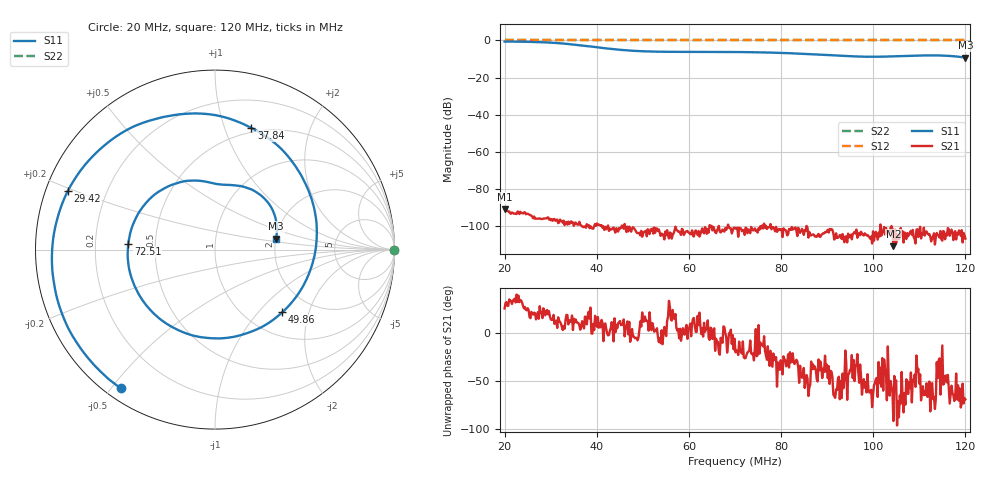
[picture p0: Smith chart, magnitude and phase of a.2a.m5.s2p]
! Anritsu VNA Master:  Model: MS2036C/10/77
! SN:  1601066
! /bd0/18may09/252.ew.m5.s2p
! Existing Calibration Information:
! TYPE:  Current Settings,  Active Cal Settings
! TIME:  05/09/2018 08:13:59 AM,  05/09/2018 08:04:56 AM
! INTERNAL TEMP:  41.5 C,  42.3 C
! # POINTS:  500,  500
! START FREQ:  20.000 MHz,  20.000 MHz
! STOP FREQ:  120.000 MHz,  120.000 MHz
! SOURCE POWER:  High,  High
! IFBW:  50 Hz,  50 Hz
! AVG FACTOR:  1 ,  1
! REF PLANE 1:  0 mm,  0 mm
! REF PLANE 2:  0 mm,  0 mm
! CAL TYPE:  Full S11,  Full S11
! CAL METHOD:  SOLT,  SOLT
! CAL LINE TYPE:  Coax,  Coax
! DUT PORT 1:  K-Conn(F),  K-Conn(F)
! DUT PORT 2:  K-Conn(F),  K-Conn(F)
! CAL STATUS:  OK: Accuracy High,  --
# GHZ S DB R 50.0
! FREQ.GHZ  S11DB  S11A  S21DB  S21A  S12DB  S12A  S22DB  S22A
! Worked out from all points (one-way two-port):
!   500 points, 20 MHz to 120 MHz, reference 50 ohm
!   highest |S21| = -91.00 dB at 20 MHz (marker M1); lowest = -110.8 dB at 104.4 MHz (marker M2)
!   lowest |S11| = -9.2 dB at 120 MHz (marker M3), VSWR 2.05, Z = 100 + j14 ohm
!   |S11| at or under -10 dB: nowhere
!   |S22| runs from 0.0 to 0.0 dB; largest |S21 - S12| = 1
!   S11 on the Smith chart (normalised r, x): 20 MHz: 0.04, -0.53; 29.42 MHz: 0.06, +0.19; 37.84 MHz: 0.46, +1.24; 49.86 MHz: 1.44, -1.36; 72.51 MHz: 0.35, +0.03; 120 MHz: 2.00, +0.28
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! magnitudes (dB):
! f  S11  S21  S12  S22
! 20 MHz  -0.6  -91.0  0.0  0.0
! 24.81 MHz  -0.7  -93.3  0.0  0.0
! 29.42 MHz  -1.1  -95.2  0.0  0.0
! 32.83 MHz  -1.7  -97.0  0.0  0.0
! 36.83 MHz  -2.7  -100.1  0.0  0.0
! 37.84 MHz  -3.0  -98.9  0.0  0.0
! 44.45 MHz  -4.9  -102.4  0.0  0.0
! 47.05 MHz  -5.4  -100.2  0.0  0.0
! 49.86 MHz  -5.8  -105.7  0.0  0.0
! 53.47 MHz  -6.1  -101.8  0.0  0.0
! 70.1 MHz  -6.2  -101.3  0.0  0.0
! 72.51 MHz  -6.3  -101.2  0.0  0.0
! 80.52 MHz  -6.7  -101.2  0.0  0.0
! 86.73 MHz  -7.4  -104.5  0.0  0.0
! 97.56 MHz  -8.7  -104.0  0.0  0.0
! 100.2 MHz  -8.8  -107.8  0.0  0.0
! 103.4 MHz  -8.6  -103.6  0.0  0.0
! 104.4 MHz  -8.6  -110.8  0.0  0.0
! 109.8 MHz  -8.1  -105.8  0.0  0.0
! 113.8 MHz  -8.1  -103.7  0.0  0.0
! 116.8 MHz  -8.4  -103.1  0.0  0.0
! 120 MHz  -9.2  -106.7  0.0  0.0
